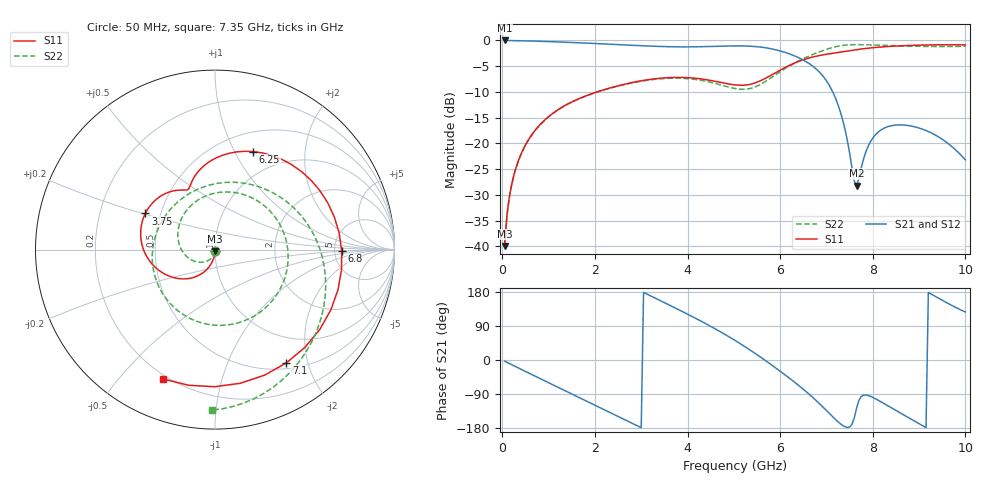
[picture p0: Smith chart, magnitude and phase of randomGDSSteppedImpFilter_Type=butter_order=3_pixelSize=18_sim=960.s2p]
! freq	dB(S11)	phase(S11)	dB(S12)	phase(S12)
!  dB(S21)	phase(S21)	dB(S22)	phase(S22)
!S-par simulation data
#  GHz  S  DB  R 50
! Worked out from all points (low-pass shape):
!   200 points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, 50 MHz to 10 GHz, reference 50 ohm
!   highest |S21| = 0.00 dB at 50 MHz (marker M1); lowest = -28.2 dB at 7.65 GHz (marker M2)
!   |S21| within 3 dB of the highest: start of sweep to 6.311 GHz
!   lowest |S11| = -39.9 dB at 50 MHz (marker M3), VSWR 1.02, Z = 50 - j1.01 ohm
!   |S11| at or under -10 dB: start of sweep to 2.046 GHz
!   |S22| runs from -40.0 to -0.8 dB; largest |S21 - S12| = 0
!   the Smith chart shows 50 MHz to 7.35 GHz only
!   S11 on the Smith chart (normalised r, x): 50 MHz: 1.00, -0.02; 3.75 GHz: 0.41, +0.20; 6.25 GHz: 0.72, +1.19; 6.8 GHz: 5.80, -0.20; 7.1 GHz: 0.58, -1.66; 7.35 GHz: 0.18, -0.66
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0.05  -39.94 -91.0  -0.00 -3.1  -0.00 -3.1  -39.98 -93.6
0.2  -28.09 -96.8  -0.03 -12.1  -0.03 -12.1  -28.13 -106.9
0.5  -20.32 -107.9  -0.08 -30.1  -0.08 -30.1  -20.37 -133.2
1.15  -13.78 -129.5  -0.27 -68.9  -0.27 -68.9  -13.83 170.3
1.75  -10.96 -147.1  -0.49 -104.5  -0.49 -104.5  -11.00 116.8
2.6  -8.59 -170.8  -0.85 -154.9  -0.85 -154.9  -8.65 40.1
3.4  -7.36 164.4  -1.17 157.5  -1.17 157.5  -7.46 -29.6
3.75  -7.18 152.6  -1.24 136.3  -1.24 136.3  -7.33 -59.6
4.45  -7.69 129.5  -1.19 92.2  -1.19 92.2  -8.04 -123.8
5.05  -8.66 116.0  -1.06 49.8  -1.06 49.8  -9.39 164.3
5.65  -7.51 105.8  -1.38 1.3  -1.38 1.3  -8.15 73.3
6.25  -4.64 68.7  -2.78 -52.7  -2.78 -52.7  -4.69 0.8
6.7  -3.23 15.1  -4.97 -98.3  -4.97 -98.3  -2.75 -39.5
6.8  -3.02 -0.7  -5.73 -109.5  -5.73 -109.5  -2.39 -47.6
7.1  -2.54 -57.8  -9.37 -145.5  -9.37 -145.5  -1.45 -71.3
7.35  -2.20 -111.8  -15.45 -172.8  -15.45 -172.8  -0.97 -91.0
7.65  -1.79 -170.7  -28.20 -127.3  -28.20 -127.3  -0.81 -113.4
8  -1.41 137.5  -18.97 -98.6  -18.97 -98.6  -0.89 -137.7
8.35  -1.16 99.3  -16.69 -122.5  -16.69 -122.5  -0.99 -161.6
9.1  -0.90 39.2  -17.33 -175.0  -17.33 -175.0  -1.16 140.7
9.6  -0.85 7.0  -19.84 150.9  -19.84 150.9  -1.19 94.1
10  -0.87 -16.4  -23.21 126.6  -23.21 126.6  -1.13 53.8
